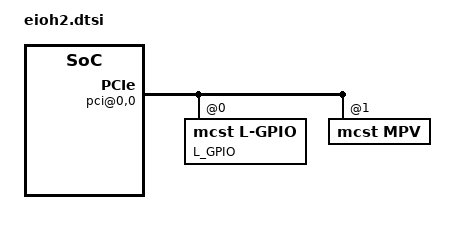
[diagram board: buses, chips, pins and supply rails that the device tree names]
/*
 * SPDX-License-Identifier: GPL-2.0
 * Copyright (c) 2023 MCST
 */

#include <dt-bindings/interrupt-controller/irq.h>
#include "epic-vectors.h"

#ifndef NODE
# error NODE undefined
#endif
#ifndef CELLS
# error CELLS undefined
#endif

#if CELLS == 1
# define REG reg32
#else
# define REG reg
#endif

#ifndef  DMN_1_STS
# define DMN_1_STS "disabled"
#endif
#ifndef  DMN_2_STS
# define DMN_2_STS "disabled"
#endif
#ifndef  DMN_3_STS
# define DMN_3_STS "disabled"
#endif
#ifndef  DMN_4_STS
# define DMN_4_STS "disabled"
#endif


#define __MSI(_n) msi ## _n
#define _MSI(_n) __MSI(_n)
#define MSI _MSI(NODE)

#if NODE == 0
# define PCICFG_ADDRL(_a) 0x2 ## _a
# define PCICFG_ADDR(_a) 0x2 _a

# define DMN_0 0
# define DMN_1 1
# define DMN_2 2
# define DMN_3 3
# define DMN_4 4
# define IOMMU_0 iommu0
# define IOMMU_1 iommu1
# define IOMMU_2 iommu2
# define IOMMU_3 iommu3
# define IOMMU_4 iommu4

# define PIC_0 pic0
# define PIC_1 pic1
# define PIC_2 pic2
# define PIC_3 pic3
# define PIC_4 pic4

# define L_GPIO l_gpio0
# define L_SPI l_spi0

# define L_I2C0 l_i2c0
# define L_I2C1 l_i2c1
# define L_I2C2 l_i2c2
# define L_I2C3 l_i2c3
# define L_I2C4 l_i2c4
# define L_I2C5 l_i2c5

# define SERIAL_0 serial0
# define SERIAL_1 serial1

# define PCI7_I3C_0 pci7_i3c0
# define PCI7_I3C_1 pci7_i3c1

#elif NODE == 1
# define PCICFG_ADDRL(_a) 0x3 ## _a
# define PCICFG_ADDR(_a) 0x3 _a

# define DMN_0 5
# define DMN_1 6
# define DMN_2 7
# define DMN_3 8
# define DMN_4 9
# define IOMMU_0 iommu5
# define IOMMU_1 iommu6
# define IOMMU_2 iommu7
# define IOMMU_3 iommu8
# define IOMMU_4 iommu9

# define PIC_0 pic5
# define PIC_1 pic6
# define PIC_2 pic7
# define PIC_3 pic8
# define PIC_4 pic9

# define L_GPIO l_gpio1
# define L_SPI l_spi1

# define L_I2C0 l_i2c6
# define L_I2C1 l_i2c7
# define L_I2C2 l_i2c8
# define L_I2C3 l_i2c9
# define L_I2C4 l_i2c10
# define L_I2C5 l_i2c11

# define SERIAL_0 serial2
# define SERIAL_1 serial3

# define PCI7_I3C_0 pci7_i3c2
# define PCI7_I3C_1 pci7_i3c3

#elif NODE == 2
# define PCICFG_ADDRL(_a) 0x4 ## _a
# define PCICFG_ADDR(_a) 0x4 _a

# define DMN_0 10
# define DMN_1 11
# define DMN_2 12
# define DMN_3 13
# define DMN_4 14
# define IOMMU_0 iommu10
# define IOMMU_1 iommu11
# define IOMMU_2 iommu12
# define IOMMU_3 iommu13
# define IOMMU_4 iommu14

# define PIC_0 pic10
# define PIC_1 pic11
# define PIC_2 pic12
# define PIC_3 pic13
# define PIC_4 pic14

# define L_GPIO l_gpio2
# define L_SPI l_spi3

# define L_I2C0 l_i2c12
# define L_I2C1 l_i2c13
# define L_I2C2 l_i2c14
# define L_I2C3 l_i2c15
# define L_I2C4 l_i2c16
# define L_I2C5 l_i2c17

# define SERIAL_0 serial4
# define SERIAL_1 serial5

# define PCI7_I3C_0 pci7_i3c4
# define PCI7_I3C_1 pci7_i3c5

#elif NODE == 3
# define PCICFG_ADDRL(_a) 0x5 ## _a
# define PCICFG_ADDR(_a) 0x5 _a

# define DMN_0 15
# define DMN_1 16
# define DMN_2 17
# define DMN_3 18
# define DMN_4 19
# define IOMMU_0 iommu15
# define IOMMU_1 iommu16
# define IOMMU_2 iommu17
# define IOMMU_3 iommu18
# define IOMMU_4 iommu19

# define PIC_0 pic15
# define PIC_1 pic16
# define PIC_2 pic17
# define PIC_3 pic18
# define PIC_4 pic19

# define L_GPIO l_gpio0
# define L_SPI l_spi0

# define L_I2C0 l_i2c18
# define L_I2C1 l_i2c19
# define L_I2C2 l_i2c20
# define L_I2C3 l_i2c21
# define L_I2C4 l_i2c22
# define L_I2C5 l_i2c23

# define SERIAL_0 serial6
# define SERIAL_1 serial7

# define PCI7_I3C_0 pci7_i3c6
# define PCI7_I3C_1 pci7_i3c7

#else
# error NODE
#endif

	PIC_0: PIC_0 {
		compatible = "mcst,ioepic";

		bus-reg64         = /bits/ 64 <PCICFG_ADDRL(00000018) 4>;
		regbar-and-size64 = /bits/ 64 <PCICFG_ADDRL(0005801c) 0x100000>;

		interrupt-parent = <&lpic>;
		interrupt-controller;
		numa-node-id = <NODE>;

		#interrupt-cells = <2>;
	};
	MSI: MSI {
		compatible = "mcst,l-msi";
		interrupt-parent = <&lpic>;
		msi-controller;
		numa-node-id = <NODE>;
	};
	IOMMU_0: iommu@DMN_0,380 {
		compatible = "mcst,e2k-iommu";
		REG = <NSR_ADDR(00380) 0 0x80>;
		nonposted-mmio;
		#iommu-cells = <1>;
		numa-node-id = <NODE>;
		interrupt-parent = <&LVT>;
		interrupts = <LINP1_INTERRUPT_VECTOR 1 0>;
	};
#ifdef E8V7
	iommu_26: iommu@DMN_0,5d00 {
		compatible = "mcst,e2k-iommu";
		REG = <NSR_ADDR(05d00) 0 0x80>;
		nonposted-mmio;
		#iommu-cells = <1>;
		numa-node-id = <NODE>;
		interrupt-parent = <&LVT>;
		interrupts = <LINP26_INTERRUPT_VECTOR 26 0>;
	};
	iommu_27: iommu@DMN_0,5d80 {
		compatible = "mcst,e2k-iommu";
		REG = <NSR_ADDR(05d80) 0 0x80>;
		nonposted-mmio;
		#iommu-cells = <1>;
		numa-node-id = <NODE>;
		interrupt-parent = <&LVT>;
		interrupts = <LINP27_INTERRUPT_VECTOR 27 0>;
	};
	iommu_29: iommu@DMN_0,5e80 {
		compatible = "mcst,e2k-iommu";
		REG = <NSR_ADDR(05e80) 0 0x80>;
		nonposted-mmio;
		#iommu-cells = <1>;
		numa-node-id = <NODE>;
		interrupt-parent = <&LVT>;
		interrupts = <LINP29_INTERRUPT_VECTOR 29 0>;
	};
	iommu_30: iommu@DMN_0,5f00 {
		compatible = "mcst,e2k-iommu";
		REG = <NSR_ADDR(05f00) 0 0x80>;
		nonposted-mmio;
		#iommu-cells = <1>;
		numa-node-id = <NODE>;
		interrupt-parent = <&LVT>;
		interrupts = <LINP30_INTERRUPT_VECTOR 30 0>;
	};
#endif
	pci@DMN_0 {
		compatible = "mcst,l-pci";
		REG = <PCICFG_ADDR(0x00000000) 0 0x10000000>, /*E2S_PCICFG_AREA_PHYS_BASE*/
			<NSR_ADDR(00240) 0 4>,
			<NSR_ADDR(00220) 0 4>,
			<NSR_ADDR(00260) 0 4>,
			<NSR_ADDR(00280) 0 4>;

		reg-names = "cfg", "io", "mem", "pref-bgn", "pref-end";

		linux,pci-domain = <DMN_0>;
		numa-node-id = <NODE>;
		msi-parent = <&MSI>;
		linux,pci-probe-only = <1>;

		/*rid-base,iommu,iommu-base,length*/
#ifdef E8V7
		iommu-map = <0 &IOMMU_0 0 0xd0>, /* tranclate 00:xx.x - 00:19.x devices */
				<0xd0 &iommu_26 0xd0 0x3>,
				<0xd8 &iommu_27 0xd8 0x1>,
				<0xe8 &iommu_29 0xe8 0x1>,
				<0xf0 &iommu_30 0xf0 0x1>,
				/*translate 01:xx.x - ff:xx.x devices */
				<0x100 &IOMMU_0 0x100 0xff00>;
#else
		iommu-map = <0x0 &IOMMU_0 0x0 0x10000>;
#endif
		/* 1:1 translation, max size (48-bit) of e2k address space */
		ranges = <  0 0 0 /* child address */
			      0 0 /* parent address */
			0x10000 0>;/* child size */
		interrupt-parent = <&PIC>;
		interrupts = <22 IRQ_TYPE_LEVEL_HIGH>, /*SERR (all devices)*/
			     <29 IRQ_TYPE_LEVEL_HIGH>; /*WLCC*/

		#address-cells = <3>;
		#size-cells = <2>;

		/*devices: eioh2_doc/pe5_cxl/pe5_cxl_x16x4.pdf*/
		/*ioepic pins: eioh2_doc/spi_ctrl/eioh2_spi.odt*/
		/* reg: 00000000 00000000 dddddfff 00000000 */
		pci@0,0 {
			reg = <0x00000000 0 0 0 0>;
			ranges;

			#address-cells = <3>;
			#size-cells = <2>;

			pci@2,0 { /*SATA controller*/
				reg = <0x00001000 0 0 0 0>;
				interrupts = <21 IRQ_TYPE_LEVEL_HIGH>;
			};
			pci@3,0 { /*USB 3.0 xHCI*/
				reg = <0x00001800 0 0 0 0>;
				interrupts =	<28 IRQ_TYPE_LEVEL_HIGH>, /*USB*/
 						<29 IRQ_TYPE_LEVEL_HIGH>; /*usb_chrg_int*/
			};
			pci@3,1 { /*USB 3.0 xHCI*/
				reg = <0x00001900 0 0 0 0>;
				interrupts =	<28 IRQ_TYPE_LEVEL_HIGH>, /*USB*/
 						<29 IRQ_TYPE_LEVEL_HIGH>; /*usb_chrg_int*/
			};
			pci@4,0 { /*USB 3.0 xHCI*/
				reg = <0x00002000 0 0 0 0>;
				interrupts =	<30 IRQ_TYPE_LEVEL_HIGH>, /*USB*/
 						<31 IRQ_TYPE_LEVEL_HIGH>; /*usb_chrg_int*/
			};
			pci@4,1 { /*USB 3.0 xHCI*/
				reg = <0x00002100 0 0 0 0>;
				interrupts =	<30 IRQ_TYPE_LEVEL_HIGH>, /*USB*/
 						<31 IRQ_TYPE_LEVEL_HIGH>; /*usb_chrg_int*/
			};
			pci@5,0 { /*Audio controller*/
				reg = <0x00002800 0 0 0 0>;
				interrupts = <8 IRQ_TYPE_LEVEL_HIGH>;
			};
			pci@5,1 { /*GPIO MPV*/
				reg = <0x00002900 0 0 0 0>;

				#address-cells = <2>;
				#size-cells = <1>;

				/*ranges will added in gpio-mpv driver */
				L_GPIO: gpio@0,0 {
					compatible = "mcst,l-gpio";
					reg = <0 /*bar 0*/ 0 32>;
					interrupts =    <12 IRQ_TYPE_LEVEL_HIGH>, /*GPIO0*/
							<13 IRQ_TYPE_LEVEL_HIGH>; /*GPIO1*/
					interrupt-names = "gpio0", "gpio1";
					ngpios = <16>;
					interrupt-controller;

					#interrupt-cells = <2>;

					gpio-controller;
				};
				mpv@0,1 {
					compatible = "mcst,mpv";
					reg = <1 /*bar 1*/ 0 128>;
					interrupts =    < 9 IRQ_TYPE_LEVEL_HIGH>, /*Mpv_timers0*/
							<10 IRQ_TYPE_LEVEL_HIGH>, /*Mpv_timers1*/
							<11 IRQ_TYPE_LEVEL_HIGH>; /*Mpv_timers1*/
					interrupt-names = "mpv0", "mpv1", "mpv2";
				};
			};
			pci@6,0 { /*Ethernet 1G controller*/
				reg = <0x00003000 0 0 0 0>;
				interrupts =	<3 IRQ_TYPE_LEVEL_HIGH>, /*Ethernet0_tx0*/
						<4 IRQ_TYPE_LEVEL_HIGH>, /*Ethernet0_tx1*/
						<5 IRQ_TYPE_LEVEL_HIGH>, /*Ethernet0_rx0*/
						<6 IRQ_TYPE_LEVEL_HIGH>, /*Ethernet0_rx1*/
						<7 IRQ_TYPE_LEVEL_HIGH>; /*Ethernet0_sys*/
			};
			pci@6,1 { /*Ethernet 1G controller*/
				reg = <0x00003100 0 0 0 0>;
				interrupts =	<23 IRQ_TYPE_LEVEL_HIGH>, /*Ethernet0_tx0*/
						<24 IRQ_TYPE_LEVEL_HIGH>, /*Ethernet0_tx1*/
						<25 IRQ_TYPE_LEVEL_HIGH>, /*Ethernet0_rx0*/
						<26 IRQ_TYPE_LEVEL_HIGH>, /*Ethernet0_rx1*/
						<27 IRQ_TYPE_LEVEL_HIGH>; /*Ethernet0_sys*/
			};
			PCI7_I3C_0: pci@7,0 { /* i3c controller */
				reg = <0x00003800 0 0 0 0>;

				#address-cells = <3>;
				#size-cells = <0>;
			};
			PCI7_I3C_1: pci@7,1 { /*i3c controller*/
				reg = <0x00003900 0 0 0 0>;

				#address-cells = <3>;
				#size-cells = <0>;
			};
			L_I2C0: pci@8,0 { /*i2c controller*/
				reg = <0x00004000 0 0 0 0>;

				#address-cells = <1>;
				#size-cells = <0>;
			};
			L_I2C1: pci@8,1 { /*i2c controller*/
				reg = <0x00004100 0 0 0 0>;

				#address-cells = <1>;
				#size-cells = <0>;
			};
			L_I2C2: pci@8,2 { /*i2c controller*/
				reg = <0x00004200 0 0 0 0>;

				#address-cells = <1>;
				#size-cells = <0>;
			};
			L_I2C3: pci@8,3 { /*i2c controller*/
				reg = <0x00004300 0 0 0 0>;

				#address-cells = <1>;
				#size-cells = <0>;
			};
			L_I2C4: pci@8,4 { /*i2c controller*/
				reg = <0x00004400 0 0 0 0>;

				#address-cells = <1>;
				#size-cells = <0>;
			};
			L_I2C5: pci@8,5 { /*i2c controller*/
				reg = <0x00004500 0 0 0 0>;

				#address-cells = <1>;
				#size-cells = <0>;
			};
			SERIAL_0: pci@9,0 { /*Serial ports*/
				reg = <0x00004800 0 0 0 0>;
				interrupts =	<14 IRQ_TYPE_LEVEL_HIGH>; /*Serial Port*/
			};
			SERIAL_1: pci@9,1 { /*Serial ports*/
				reg = <0x00004900 0 0 0 0>;
				interrupts =	<17 IRQ_TYPE_LEVEL_HIGH>; /*Serial Port*/
			};
			pci@a,0 { /*SPMC controller*/
				reg = <0x000005000 0 0 0 0>;
				interrupts =	< 1 IRQ_TYPE_LEVEL_HIGH>; /*SCI*/
			};
			L_SPI: pci@b,0 { /*SPI controller*/
				reg = <0x000005800 0 0 0 0>;
				interrupts =	<15 IRQ_TYPE_LEVEL_HIGH>, /*SPI*/
						<20 IRQ_TYPE_LEVEL_HIGH>, /*WD Timer*/
						< 0 IRQ_TYPE_LEVEL_HIGH>; /*WD_RST_INT_SPI*/

				#address-cells = <1>;
				#size-cells = <0>;
			};
		};
#ifdef E8V7
		display_subsystem: pci@1a,0 { /* 2D GPU MGA 2.7 */
			reg = <0x0000d000 0 0 0 0>;
			interrupts = <32 IRQ_TYPE_LEVEL_HIGH>;
		};
		pci@1a,1 { /* I2S0 */
			reg = <0x0000d100 0 0 0 0>;
			interrupts = <33 IRQ_TYPE_LEVEL_HIGH>;
		};
		pci@1a,2 { /* I2S1 */
			reg = <0x0000d200 0 0 0 0>;
			interrupts = <34 IRQ_TYPE_LEVEL_HIGH>;
		};
		pci@1b,0 { /* 3D GPU */
			reg = <0x0000d800 0 0 0 0>;
			interrupts = <35 IRQ_TYPE_LEVEL_HIGH>;
			iommus = <&iommu_27 0>; /*for subdevices*/
		};
		pci@1d,0 { /* Video decoder (VPU) HEVC/H264/JPEG/AV1/VP9 */
			reg = <0x0000e800 0 0 0 0>;
			interrupts = <37 IRQ_TYPE_LEVEL_HIGH>;
			iommus = <&iommu_29 0>; /*for subdevices*/
		};
		pci@1e,0 { /* Video encoder BigEv2, drivers/mcst/BigEv2 */
			reg = <0x0000f000 0 0 0 0>;
			interrupts = <38 IRQ_TYPE_LEVEL_HIGH>;
			iommus = <&iommu_30 0>; /*for subdevices*/
		};
#endif /*E8V7*/
	};

	IOMMU_1: iommu@DMN_1,a380 {
		compatible = "mcst,e2k-iommu";
		status = DMN_1_STS;
		REG = <NSR_ADDR(0a380) 0 0x80>;
		nonposted-mmio;

		#iommu-cells = <1>;

		numa-node-id = <NODE>;
		interrupt-parent = <&LVT>;
		interrupts = <LINP16_INTERRUPT_VECTOR 16 0>;
	};
	/* eioh2/eioh2_doc/pe5_cxl/pe5_cxl_x16x4.pdf */
	PIC_1: PIC_1 {
		compatible = "mcst,ioepic";
		status = DMN_1_STS;
		regbar-and-size64 = /bits/ 64 <PCICFG_ADDRL(10000010) 0x100000>;

		interrupt-parent = <&lpic>;
		interrupt-controller;
		numa-node-id = <NODE>;

		#interrupt-cells = <2>;
	};
	pci@DMN_1 {
		compatible = "mcst,l-pci";
		status = DMN_1_STS;
		REG = <PCICFG_ADDR(0x10000000) 0 0x10000000>,
			<NSR_ADDR(00244) 0 4>,
			<NSR_ADDR(00224) 0 4>,
			<NSR_ADDR(00264) 0 4>,
			<NSR_ADDR(00284) 0 4>;
		reg-names = "cfg", "io", "mem", "pref-bgn", "pref-end";

		linux,pci-domain = <DMN_1>;
		numa-node-id = <NODE>;
		interrupt-parent = <&PIC_1>;
		msi-parent = <&MSI>;
		linux,pci-probe-only = <1>;

		/*rid-base,iommu,iommu-base,length*/
		iommu-map = <0x0 &IOMMU_1 0x0 0x10000>;
		/* 1:1 translation, max size (48-bit) of e2k address space */
		ranges = <  0 0 0 /* child address */
			      0 0 /* parent address */
			0x10000 0>;/* child size */

		#address-cells = <3>;
		#size-cells = <2>;

		/* reg: 00000000 00000000 dddddfff 00000000 */
		pci@0,0 {
			reg = <0x00000000 0 0 0 0>;
			ranges;

			#address-cells = <3>;
			#size-cells = <2>;

			pci@0,0 { /*CXL/PCIe Root complex x16*/
				reg = <0x00000000 0 0 0 0>;
				interrupts =	< 1 IRQ_TYPE_LEVEL_HIGH>, /*PCI IRQ A*/
						< 2 IRQ_TYPE_LEVEL_HIGH>, /*PCI IRQ B*/
						< 3 IRQ_TYPE_LEVEL_HIGH>, /*PCI IRQ C*/
						< 4 IRQ_TYPE_LEVEL_HIGH>, /*PCI IRQ D*/
						< 5 IRQ_TYPE_LEVEL_HIGH>; /*error/hot-plug,link-drop*/
			};
			pci@1,0 { /*CXL/PCIe Root complex x8*/
				reg = <0x00000800 0 0 0 0>;
				interrupts =	< 6 IRQ_TYPE_LEVEL_HIGH>, /*PCI IRQ A*/
						< 7 IRQ_TYPE_LEVEL_HIGH>, /*PCI IRQ B*/
						< 8 IRQ_TYPE_LEVEL_HIGH>, /*PCI IRQ C*/
						< 9 IRQ_TYPE_LEVEL_HIGH>, /*PCI IRQ D*/
						<10 IRQ_TYPE_LEVEL_HIGH>; /*error/hot-plug,link-drop*/
			};
			pci@2,0 { /*CXL/PCIe Root complex x8*/
				reg = <0x00001000 0 0 0 0>;
				interrupts =	<11 IRQ_TYPE_LEVEL_HIGH>, /*PCI IRQ A*/
						<12 IRQ_TYPE_LEVEL_HIGH>, /*PCI IRQ B*/
						<13 IRQ_TYPE_LEVEL_HIGH>, /*PCI IRQ C*/
						<14 IRQ_TYPE_LEVEL_HIGH>, /*PCI IRQ D*/
						<15 IRQ_TYPE_LEVEL_HIGH>; /*error/hot-plug,link-drop*/
			};
			pci@3,0 { /*CXL/PCIe Root complex x8*/
				reg = <0x00001800 0 0 0 0>;
				interrupts =	<16 IRQ_TYPE_LEVEL_HIGH>, /*PCI IRQ A*/
						<17 IRQ_TYPE_LEVEL_HIGH>, /*PCI IRQ B*/
						<18 IRQ_TYPE_LEVEL_HIGH>, /*PCI IRQ C*/
						<18 IRQ_TYPE_LEVEL_HIGH>, /*PCI IRQ D*/
						<20 IRQ_TYPE_LEVEL_HIGH>; /*error/hot-plug,link-drop*/
			};
		};
	};

	IOMMU_2: iommu@DMN_2,b380 {
		compatible = "mcst,e2k-iommu";
		status = DMN_2_STS;
		REG = <NSR_ADDR(0b380) 0 0x80>;
		nonposted-mmio;

		#iommu-cells = <1>;

		numa-node-id = <NODE>;
		interrupt-parent = <&LVT>;
		interrupts = <LINP17_INTERRUPT_VECTOR 17 0>;
	};
	PIC_2: PIC_2 {
		compatible = "mcst,ioepic";
		status = DMN_2_STS;
		regbar-and-size64 = /bits/ 64 <PCICFG_ADDRL(20000010) 0x100000>;

		interrupt-parent = <&lpic>;
		interrupt-controller;
		numa-node-id = <NODE>;

		#interrupt-cells = <2>;
	};
	pci@DMN_2 {
		compatible = "mcst,l-pci";
		status = DMN_2_STS;
		REG = <PCICFG_ADDR(0x20000000) 0 0x10000000>,
			<NSR_ADDR(00248) 0 4>,
			<NSR_ADDR(00228) 0 4>,
			<NSR_ADDR(00268) 0 4>,
			<NSR_ADDR(00288) 0 4>;
		reg-names = "cfg", "io", "mem", "pref-bgn", "pref-end";

		linux,pci-domain = <DMN_2>;
		numa-node-id = <NODE>;
		interrupt-parent = <&PIC_2>;
		msi-parent = <&MSI>;
		linux,pci-probe-only = <1>;

		/*rid-base,iommu,iommu-base,length*/
		iommu-map = <0x0 &IOMMU_2 0x0 0x10000>;
		/* 1:1 translation, max size (48-bit) of e2k address space */
		ranges = <  0 0 0 /* child address */
			      0 0 /* parent address */
			0x10000 0>;/* child size */

		#address-cells = <3>;
		#size-cells = <2>;

		/* reg: 00000000 00000000 dddddfff 00000000 */
		pci@0,0 {
			reg = <0x00000000 0 0 0 0>;
			ranges;

			#address-cells = <3>;
			#size-cells = <2>;

			pci@0,0 { /*CXL/PCIe Root complex x16*/
				reg = <0x00000000 0 0 0 0>;
				interrupts =	< 1 IRQ_TYPE_LEVEL_HIGH>, /*PCI IRQ A*/
						< 2 IRQ_TYPE_LEVEL_HIGH>, /*PCI IRQ B*/
						< 3 IRQ_TYPE_LEVEL_HIGH>, /*PCI IRQ C*/
						< 4 IRQ_TYPE_LEVEL_HIGH>, /*PCI IRQ D*/
						< 5 IRQ_TYPE_LEVEL_HIGH>; /*error/hot-plug,link-drop*/
			};
			pci@1,0 { /*CXL/PCIe Root complex x8*/
				reg = <0x00000800 0 0 0 0>;
				interrupts =	< 6 IRQ_TYPE_LEVEL_HIGH>, /*PCI IRQ A*/
						< 7 IRQ_TYPE_LEVEL_HIGH>, /*PCI IRQ B*/
						< 8 IRQ_TYPE_LEVEL_HIGH>, /*PCI IRQ C*/
						< 9 IRQ_TYPE_LEVEL_HIGH>, /*PCI IRQ D*/
						<10 IRQ_TYPE_LEVEL_HIGH>; /*error/hot-plug,link-drop*/
			};
			pci@2,0 { /*CXL/PCIe Root complex x8*/
				reg = <0x00001000 0 0 0 0>;
				interrupts =	<11 IRQ_TYPE_LEVEL_HIGH>, /*PCI IRQ A*/
						<12 IRQ_TYPE_LEVEL_HIGH>, /*PCI IRQ B*/
						<13 IRQ_TYPE_LEVEL_HIGH>, /*PCI IRQ C*/
						<14 IRQ_TYPE_LEVEL_HIGH>, /*PCI IRQ D*/
						<15 IRQ_TYPE_LEVEL_HIGH>; /*error/hot-plug,link-drop*/
			};
			pci@3,0 { /*CXL/PCIe Root complex x8*/
				reg = <0x00001800 0 0 0 0>;
				interrupts =	<16 IRQ_TYPE_LEVEL_HIGH>, /*PCI IRQ A*/
						<17 IRQ_TYPE_LEVEL_HIGH>, /*PCI IRQ B*/
						<18 IRQ_TYPE_LEVEL_HIGH>, /*PCI IRQ C*/
						<18 IRQ_TYPE_LEVEL_HIGH>, /*PCI IRQ D*/
						<20 IRQ_TYPE_LEVEL_HIGH>; /*error/hot-plug,link-drop*/
			};
		};
	};

	IOMMU_3: iommu@DMN_3,c380 {
		compatible = "mcst,e2k-iommu";
		status = DMN_3_STS;
		REG = <NSR_ADDR(0c380) 0 0x80>;
		nonposted-mmio;

		#iommu-cells = <1>;

		numa-node-id = <NODE>;
		interrupt-parent = <&LVT>;
		interrupts = <LINP18_INTERRUPT_VECTOR 18 0>;
	};
	PIC_3: PIC_3 {
		compatible = "mcst,ioepic";
		status = DMN_3_STS;
		regbar-and-size64 = /bits/ 64 <PCICFG_ADDRL(30000010) 0x100000>;

		interrupt-parent = <&lpic>;
		interrupt-controller;
		numa-node-id = <NODE>;

		#interrupt-cells = <2>;
	};
	pci@DMN_3 {
		compatible = "mcst,l-pci";
		status = DMN_3_STS;
		REG = <PCICFG_ADDR(0x30000000) 0 0x10000000>,
			<NSR_ADDR(0024c) 0 4>,
			<NSR_ADDR(0022c) 0 4>,
			<NSR_ADDR(0026c) 0 4>,
			<NSR_ADDR(0028c) 0 4>;
		reg-names = "cfg", "io", "mem", "pref-bgn", "pref-end";

		linux,pci-domain = <DMN_3>;
		numa-node-id = <NODE>;
		interrupt-parent = <&PIC_3>;
		msi-parent = <&MSI>;
		linux,pci-probe-only = <1>;

		/*rid-base,iommu,iommu-base,length*/
		iommu-map = <0x0 &IOMMU_3 0x0 0x10000>;
		/* 1:1 translation, max size (48-bit) of e2k address space */
		ranges = <  0 0 0 /* child address */
			      0 0 /* parent address */
			0x10000 0>;/* child size */

		#address-cells = <3>;
		#size-cells = <2>;

		/* reg: 00000000 00000000 dddddfff 00000000 */
		pci@0,0 {
			reg = <0x00000000 0 0 0 0>;
			ranges;

			#address-cells = <3>;
			#size-cells = <2>;

			pci@0,0 { /*CXL/PCIe Root complex x16*/
				reg = <0x00000000 0 0 0 0>;
				interrupts =	< 0 IRQ_TYPE_LEVEL_HIGH>, /*PCI IRQ A*/
						< 1 IRQ_TYPE_LEVEL_HIGH>, /*PCI IRQ B*/
						< 2 IRQ_TYPE_LEVEL_HIGH>, /*PCI IRQ C*/
						< 3 IRQ_TYPE_LEVEL_HIGH>, /*PCI IRQ D*/
						< 4 IRQ_TYPE_LEVEL_HIGH>; /*error/hot-plug,link-drop*/
			};
			pci@1,0 { /*CXL/PCIe Root complex x8*/
				reg = <0x00000800 0 0 0 0>;
				interrupts =	< 5 IRQ_TYPE_LEVEL_HIGH>, /*PCI IRQ A*/
						< 6 IRQ_TYPE_LEVEL_HIGH>, /*PCI IRQ B*/
						< 7 IRQ_TYPE_LEVEL_HIGH>, /*PCI IRQ C*/
						< 8 IRQ_TYPE_LEVEL_HIGH>, /*PCI IRQ D*/
						< 9 IRQ_TYPE_LEVEL_HIGH>; /*error/hot-plug,link-drop*/
			};
			pci@2,0 { /*CXL/PCIe Root complex x8*/
				reg = <0x00001000 0 0 0 0>;
				interrupts =	<10 IRQ_TYPE_LEVEL_HIGH>, /*PCI IRQ A*/
						<11 IRQ_TYPE_LEVEL_HIGH>, /*PCI IRQ B*/
						<12 IRQ_TYPE_LEVEL_HIGH>, /*PCI IRQ C*/
						<13 IRQ_TYPE_LEVEL_HIGH>, /*PCI IRQ D*/
						<14 IRQ_TYPE_LEVEL_HIGH>; /*error/hot-plug,link-drop*/
			};
			pci@3,0 { /*CXL/PCIe Root complex x8*/
				reg = <0x00001800 0 0 0 0>;
				interrupts =	<15 IRQ_TYPE_LEVEL_HIGH>, /*PCI IRQ A*/
						<16 IRQ_TYPE_LEVEL_HIGH>, /*PCI IRQ B*/
						<17 IRQ_TYPE_LEVEL_HIGH>, /*PCI IRQ C*/
						<18 IRQ_TYPE_LEVEL_HIGH>, /*PCI IRQ D*/
						<19 IRQ_TYPE_LEVEL_HIGH>; /*error/hot-plug,link-drop*/
			};
		};
	};

	IOMMU_4: iommu@DMN_4,d380 {
		compatible = "mcst,e2k-iommu";
		status = DMN_4_STS;
		REG = <NSR_ADDR(0d380) 0 0x80>;
		nonposted-mmio;

		#iommu-cells = <1>;

		numa-node-id = <NODE>;
		interrupt-parent = <&LVT>;
		interrupts = <LINP19_INTERRUPT_VECTOR 19 0>;
	};
	PIC_4: PIC_4 {
		compatible = "mcst,ioepic";
		status = DMN_4_STS;
		regbar-and-size64 = /bits/ 64 <PCICFG_ADDRL(40000010) 0x100000>;

		interrupt-parent = <&lpic>;
		interrupt-controller;
		numa-node-id = <NODE>;

		#interrupt-cells = <2>;
	};
	pci@DMN_4 {
		compatible = "mcst,l-pci";
		status = DMN_4_STS;
		REG = <PCICFG_ADDR(0x40000000) 0 0x10000000>,
			<NSR_ADDR(00250) 0 4>,
			<NSR_ADDR(00230) 0 4>,
			<NSR_ADDR(00270) 0 4>,
			<NSR_ADDR(00290) 0 4>;
		reg-names = "cfg", "io", "mem", "pref-bgn", "pref-end";

		linux,pci-domain = <DMN_4>;
		numa-node-id = <NODE>;
		interrupt-parent = <&PIC_4>;
		msi-parent = <&MSI>;
		linux,pci-probe-only = <1>;

		/*rid-base,iommu,iommu-base,length*/
		iommu-map = <0x0 &IOMMU_4 0x0 0x10000>;
		/* 1:1 translation, max size (48-bit) of e2k address space */
		ranges = <  0 0 0 /* child address */
			      0 0 /* parent address */
			0x10000 0>;/* child size */

		#address-cells = <3>;
		#size-cells = <2>;

		/* reg: 00000000 00000000 dddddfff 00000000 */
		pci@0,0 {
			reg = <0x00000000 0 0 0 0>;
			ranges;

			#address-cells = <3>;
			#size-cells = <2>;

			pci@0,0 { /*CXL/PCIe Root complex x16*/
				reg = <0x00000000 0 0 0 0>;
				interrupts =	< 0 IRQ_TYPE_LEVEL_HIGH>, /*PCI IRQ A*/
						< 1 IRQ_TYPE_LEVEL_HIGH>, /*PCI IRQ B*/
						< 2 IRQ_TYPE_LEVEL_HIGH>, /*PCI IRQ C*/
						< 3 IRQ_TYPE_LEVEL_HIGH>, /*PCI IRQ D*/
						< 4 IRQ_TYPE_LEVEL_HIGH>; /*error/hot-plug,link-drop*/
			};
			pci@1,0 { /*CXL/PCIe Root complex x8*/
				reg = <0x00000800 0 0 0 0>;
				interrupts =	< 5 IRQ_TYPE_LEVEL_HIGH>, /*PCI IRQ A*/
						< 6 IRQ_TYPE_LEVEL_HIGH>, /*PCI IRQ B*/
						< 7 IRQ_TYPE_LEVEL_HIGH>, /*PCI IRQ C*/
						< 8 IRQ_TYPE_LEVEL_HIGH>, /*PCI IRQ D*/
						< 9 IRQ_TYPE_LEVEL_HIGH>; /*error/hot-plug,link-drop*/
			};
			pci@2,0 { /*CXL/PCIe Root complex x8*/
				reg = <0x00001000 0 0 0 0>;
				interrupts =	<10 IRQ_TYPE_LEVEL_HIGH>, /*PCI IRQ A*/
						<11 IRQ_TYPE_LEVEL_HIGH>, /*PCI IRQ B*/
						<12 IRQ_TYPE_LEVEL_HIGH>, /*PCI IRQ C*/
						<13 IRQ_TYPE_LEVEL_HIGH>, /*PCI IRQ D*/
						<14 IRQ_TYPE_LEVEL_HIGH>; /*error/hot-plug,link-drop*/
			};
			pci@3,0 { /*CXL/PCIe Root complex x8*/
				reg = <0x00001800 0 0 0 0>;
				interrupts =	<15 IRQ_TYPE_LEVEL_HIGH>, /*PCI IRQ A*/
						<16 IRQ_TYPE_LEVEL_HIGH>, /*PCI IRQ B*/
						<17 IRQ_TYPE_LEVEL_HIGH>, /*PCI IRQ C*/
						<18 IRQ_TYPE_LEVEL_HIGH>, /*PCI IRQ D*/
						<19 IRQ_TYPE_LEVEL_HIGH>; /*error/hot-plug,link-drop*/
			};
		};
	};

#undef PCICFG_ADDR
#undef PCICFG_ADDRL

#undef DMN_0_STS
#undef DMN_1_STS
#undef DMN_2_STS
#undef DMN_3_STS
#undef DMN_4_STS

#undef DMN_0
#undef DMN_1
#undef DMN_2
#undef DMN_3
#undef DMN_4

#undef PIC_0
#undef PIC_1
#undef PIC_2
#undef PIC_3
#undef PIC_4

#undef L_GPIO
#undef L_SPI

#undef L_I2C0
#undef L_I2C1
#undef L_I2C2
#undef L_I2C3
#undef L_I2C4
#undef L_I2C5

#undef IOMMU_0
#undef IOMMU_1
#undef IOMMU_2
#undef IOMMU_3
#undef IOMMU_4

#undef SERIAL_0
#undef SERIAL_1
#undef SERIAL_2
#undef SERIAL_3
#undef SERIAL_4
#undef SERIAL_5
#undef SERIAL_6
#undef SERIAL_7

#undef PCI7_I3C_0
#undef PCI7_I3C_1
#undef PCI7_I3C_2
#undef PCI7_I3C_3
#undef PCI7_I3C_4
#undef PCI7_I3C_5
#undef PCI7_I3C_6
#undef PCI7_I3C_7
